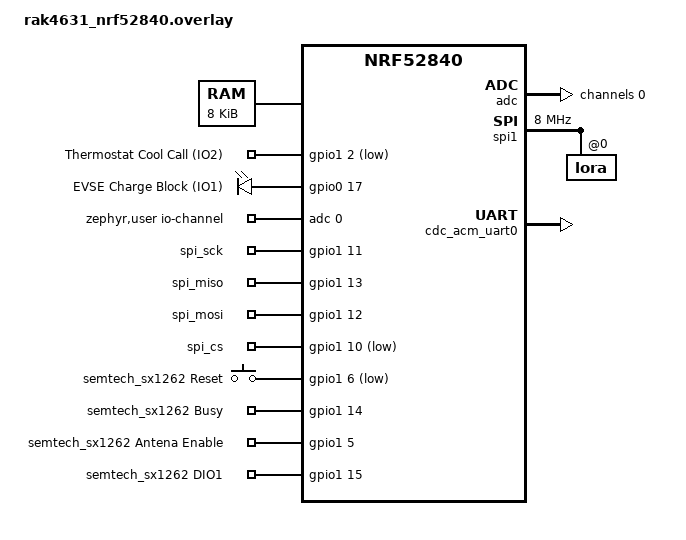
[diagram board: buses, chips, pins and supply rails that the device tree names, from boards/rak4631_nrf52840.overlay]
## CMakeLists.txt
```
#
# Copyright (c) 2023 Nordic Semiconductor ASA
#
# SPDX-License-Identifier: LicenseRef-Nordic-5-Clause
#

cmake_minimum_required(VERSION 3.20.0)

find_package(Zephyr REQUIRED HINTS $ENV{ZEPHYR_BASE})
project(evse_platform)

# Platform sources — Zephyr + Sidewalk + drivers + platform API
# Excludes the app_evse/ directory (built separately as standalone app)
target_sources(app PRIVATE
    src/main.c
    src/app.c
    src/sidewalk_dispatch.c
    src/platform_shell.c
    src/sidewalk.c
    src/sidewalk_events.c
    src/tx_state.c
    src/app_leds.c
    src/platform_api_impl.c
    src/ota_flash.c
    src/ota_update.c
    src/ota_signing.c
    src/mfg_health.c
)

zephyr_include_directories(
    include
)

# Place .platform_api section at fixed address 0x7FF00
zephyr_linker_sources(SECTIONS platform_api.ld)

# Read build versions from VERSION files
file(READ "${CMAKE_CURRENT_SOURCE_DIR}/BUILD_VERSION" APP_BUILD_VER)
string(STRIP "${APP_BUILD_VER}" APP_BUILD_VER)
file(READ "${CMAKE_CURRENT_SOURCE_DIR}/PLATFORM_BUILD_VERSION" PLATFORM_BUILD_VER)
string(STRIP "${PLATFORM_BUILD_VER}" PLATFORM_BUILD_VER)
zephyr_compile_definitions(
    APP_BUILD_VERSION=${APP_BUILD_VER}
    PLATFORM_BUILD_VERSION=${PLATFORM_BUILD_VER}
)
```

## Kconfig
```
#
# Copyright (c) 2023 Nordic Semiconductor ASA
#
# SPDX-License-Identifier: LicenseRef-Nordic-5-Clause
#
rsource "../../../sidewalk/samples/sid_end_device/Kconfig.defconfig"

config SIDEWALK_SPI_BUS
    default y
    imply SPI
    imply PM
    imply PM_DEVICE

config SID_END_DEVICE_TX_THREAD_STACK_SIZE
    int "TX thread stack size"
    default 4096

config SID_END_DEVICE_RX_THREAD_STACK_SIZE
    int "RX thread stack size"
    default 4096

config SID_END_DEVICE_NOTIFY_DATA_PERIOD_MS
    int "Notify period of sensor monitoring demo app"
    default 60000

config SID_END_DEVICE_TX_THREAD_PRIORITY
    int "TX thread priority"
    default 13

config SID_END_DEVICE_RX_THREAD_PRIORITY
    int "RX thread priority"
    default 14

config SID_END_DEVICE_TX_THREAD_QUEUE_SIZE
    int "TX thread queue size"
    default 10

config SID_END_DEVICE_RX_THREAD_QUEUE_SIZE
    int "RX thread queue size"
    default 4

source "Kconfig.zephyr"
```

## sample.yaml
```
sample:
  description: RAK4631 EVSE Monitor with J1772, Current Clamp, and Thermostat inputs
  name: EVSE Monitoring app
tests:
  sample.sidewalk.demo.ble:
    build_only: true
    platform_allow: nrf52840dk_nrf52840
    integration_platforms:
      - nrf52840dk_nrf52840
    tags: Sidewalk BLE
  sample.sidewalk.demo.fsk:
    build_only: true
    platform_allow: nrf52840dk_nrf52840
    extra_args: OVERLAY_CONFIG=fsk.conf
    integration_platforms:
      - nrf52840dk_nrf52840
    tags: Sidewalk FSK
  sample.sidewalk.demo.lora:
    build_only: true
    platform_allow: nrf52840dk_nrf52840
    extra_args: OVERLAY_CONFIG=lora.conf
    integration_platforms:
      - nrf52840dk_nrf52840
    tags: Sidewalk LoRa
```

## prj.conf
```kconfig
#
# Copyright (c) 2023 Nordic Semiconductor ASA
#
# SPDX-License-Identifier: LicenseRef-Nordic-5-Clause
#

CONFIG_STATIC_INIT_GNU=y

# Config Peripherals
CONFIG_GPIO=y
CONFIG_PWM=y
CONFIG_FLASH=y
CONFIG_SPI=y
CONFIG_NRFX_SPI1=y
CONFIG_NRFX_SPI2=y
CONFIG_FLASH_PAGE_LAYOUT=y
CONFIG_NVS=y
CONFIG_NVS_LOG_LEVEL_DBG=n
CONFIG_MPU_ALLOW_FLASH_WRITE=y

# ADC for EVSE sensors
CONFIG_ADC=y
CONFIG_ADC_NRFX_SAADC=y

# Sidewalk
CONFIG_SIDEWALK=y
CONFIG_SMF=y
CONFIG_SIDEWALK_DFU=n
# PSA key storage — re-enabled after re-provisioning MFG keys.
# Private keys live in PSA (encrypted with HUK), not in plaintext flash.
# If HUK is lost (chip erase), re-flash mfg.hex then app to re-import keys.
CONFIG_SIDEWALK_CRYPTO_PSA_KEY_STORAGE=y
CONFIG_SIDEWALK_THREAD_PRIORITY=10
CONFIG_SIDEWALK_NRFX_SPI1=y

# Logging
CONFIG_LOG=y
CONFIG_LOG_DEFAULT_LEVEL=3
CONFIG_LOG_MODE_IMMEDIATE=y
CONFIG_SIDEWALK_LOG_LEVEL_INF=y
# Crypto logging: set to DBG for handshake debugging, INF for normal use
CONFIG_SIDEWALK_CRYPTO_LOG_LEVEL_INF=y

# Buttons and LEDs
CONFIG_DK_LIBRARY=y

# Bluetooth
CONFIG_BT_DEVICE_NAME="EVSE Monitor"

# Debug
CONFIG_RESET_ON_FATAL_ERROR=n

# Shell and USB CDC console
CONFIG_USB_DEVICE_STACK=y
CONFIG_USB_DEVICE_VID=0x2FE9
CONFIG_USB_DEVICE_PRODUCT="RAK_EVSE"
CONFIG_USB_CDC_ACM_LOG_LEVEL_OFF=y
CONFIG_UART_LINE_CTRL=y
CONFIG_USB_CDC_ACM_RINGBUF_SIZE=512
CONFIG_SHELL=y
CONFIG_SHELL_LOG_BACKEND=y
CONFIG_SHELL_BACKEND_SERIAL_CHECK_DTR=y
CONFIG_REBOOT=y

# Power Management
CONFIG_PM_DEVICE=y

# CRC library (for OTA update CRC32/CRC16 validation)
CONFIG_CRC=y

# Heartbeat period — 60s periodic uplink even when no sensor changes
CONFIG_SID_END_DEVICE_NOTIFY_DATA_PERIOD_MS=60000

# ED25519 signature verification for OTA signing (PSA Crypto / Oberon backend)
# CC310 does not support Ed25519; Oberon provides the software implementation.
CONFIG_PSA_WANT_ALG_PURE_EDDSA=y
CONFIG_PSA_WANT_ECC_TWISTED_EDWARDS_255=y
CONFIG_PSA_WANT_KEY_TYPE_ECC_PUBLIC_KEY=y

# Reserve last 8KB of SRAM for app image
CONFIG_SRAM_SIZE=248
```

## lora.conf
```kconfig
#
# Copyright (c) 2023 Nordic Semiconductor ASA
#
# SPDX-License-Identifier: LicenseRef-Nordic-5-Clause
#

CONFIG_SIDEWALK_LINK_MASK_LORA=y
# CONFIG_SIDEWALK_LINK_MASK_BLE=y
```

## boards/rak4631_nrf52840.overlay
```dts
/*
 * SPDX-License-Identifier: Apache-2.0
 */

/ {
	chosen {
		zephyr,console = &cdc_acm_uart0;
		zephyr,shell-uart = &cdc_acm_uart0;
	};

	/* Reserve last 8KB of SRAM for app image (0x2003E000-0x20040000) */
	app_ram: memory@2003E000 {
		compatible = "zephyr,memory-region";
		reg = <0x2003E000 0x2000>;
		zephyr,memory-region = "APP_RAM";
	};

	thermostat_inputs {
		compatible = "gpio-keys";
		cool_call: cool_call {
			gpios = <&gpio1 2 (GPIO_PULL_UP | GPIO_ACTIVE_LOW)>;
			label = "Thermostat Cool Call (IO2)";
		};
	};

	evse_outputs {
		compatible = "gpio-leds";
		charge_block: charge_block {
			gpios = <&gpio0 17 GPIO_ACTIVE_HIGH>;
			label = "EVSE Charge Block (IO1)";
		};
	};

	zephyr,user {
		io-channels = <&adc 0>;
	};
};

&adc {
	#address-cells = <1>;
	#size-cells = <0>;
	status = "okay";

	channel@0 {
		reg = <0>;
		zephyr,gain = "ADC_GAIN_1_6";
		zephyr,reference = "ADC_REF_INTERNAL";
		zephyr,acquisition-time = <ADC_ACQ_TIME_DEFAULT>;
		zephyr,input-positive = <NRF_SAADC_AIN7>;
		zephyr,resolution = <12>;
	};
};

&spi1 {
    compatible = "nordic,nrf-spi";
    status = "okay";
};
&spi2 {
	compatible = "nordic,nrf-spi";
	status = "disabled";
};

&spi3 {
	status = "disabled";
};

&zephyr_udc0 {
	cdc_acm_uart0: cdc_acm_uart0 {
		compatible = "zephyr,cdc-acm-uart";
	};
};

sid_semtech: &spi1 {
	compatible = "nordic,nrf-spi";
	clock-frequency = <DT_FREQ_M(8)>;
	/delete-property/ cs-gpios;

	lora: lora@0 {
	    status = "okay";
	};
};

/{
	nrfx_spi_gpios{
		compatible = "gpio-keys";
		nrfx_spi_sck: sck {
			gpios = <&gpio1 11 GPIO_ACTIVE_HIGH>;
			label = "spi_sck";
		};
		nrfx_spi_miso: miso {
			gpios = <&gpio1 13 GPIO_ACTIVE_HIGH>;
			label = "spi_miso";
		};
		nrfx_spi_mosi: mosi {
			gpios = <&gpio1 12 GPIO_ACTIVE_HIGH>;
			label = "spi_mosi";
		};
		nrfx_spi_cs: cs {
			gpios = <&gpio1 10 GPIO_ACTIVE_LOW>;
			label = "spi_cs";
		};
	};

	semtech_sx1262_gpios{
		compatible = "gpio-keys";
		semtech_sx1262_reset_gpios: reset {
			gpios = <&gpio1 6 (GPIO_ACTIVE_LOW|GPIO_PULL_UP)>;
			label = "semtech_sx1262 Reset";
		};
		semtech_sx1262_busy_gpios: busy {
			gpios = <&gpio1 14 GPIO_ACTIVE_HIGH>;
			label = "semtech_sx1262 Busy";
		};
		semtech_sx1262_antenna_enable_gpios: antena_enable {
			gpios = <&gpio1 5 GPIO_ACTIVE_HIGH>;
			label = "semtech_sx1262 Antena Enable";
		};
		semtech_sx1262_dio1_gpios: dio1 {
			gpios = <&gpio1 15 (GPIO_ACTIVE_HIGH|GPIO_PULL_DOWN)>;
			label = "semtech_sx1262 DIO1";
		};
	};
};
```

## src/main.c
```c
/*
 * Copyright (c) 2023 Nordic Semiconductor ASA
 *
 * SPDX-License-Identifier: LicenseRef-Nordic-5-Clause
 */
#include <app.h>
#include <sidewalk.h>
#include <zephyr/usb/usb_device.h>
#include <zephyr/drivers/uart.h>
#include <zephyr/drivers/gpio.h>
#include <sidewalk_version.h>

#include <zephyr/logging/log.h>
LOG_MODULE_REGISTER(main,  CONFIG_SIDEWALK_LOG_LEVEL);

static void configure_uicr(void)
{
    if ((NRF_UICR->REGOUT0 & UICR_REGOUT0_VOUT_Msk) !=
        (UICR_REGOUT0_VOUT_3V3 << UICR_REGOUT0_VOUT_Pos))
    {
        NRF_NVMC->CONFIG = NVMC_CONFIG_WEN_Wen;
        while (NRF_NVMC->READY == NVMC_READY_READY_Busy){}

        NRF_UICR->REGOUT0 = (NRF_UICR->REGOUT0 & ~((uint32_t)UICR_REGOUT0_VOUT_Msk)) |
                            (UICR_REGOUT0_VOUT_3V3 << UICR_REGOUT0_VOUT_Pos);

        NRF_NVMC->CONFIG = NVMC_CONFIG_WEN_Ren;
        while (NRF_NVMC->READY == NVMC_READY_READY_Busy){}

        LOG_INF("REGOUT0 is updated!");
        NVIC_SystemReset();
    }
}

int main(void)
{
    configure_uicr();
	int rc;
	if (IS_ENABLED(CONFIG_USB_DEVICE_STACK)) {
		rc = usb_enable(NULL);
		if (rc) {
			LOG_ERR("Failed to enable USB");
		}
	}

	PRINT_SIDEWALK_VERSION();

    app_start();

	return 0;
}
```

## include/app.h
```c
/*
 * Copyright (c) 2023 Nordic Semiconductor ASA
 *
 * SPDX-License-Identifier: LicenseRef-Nordic-5-Clause
 */

#ifndef APP_H
#define APP_H

#include <stdbool.h>
#include <stdint.h>
#include <stddef.h>

struct app_callbacks;  /* forward declaration */

/**
 * @brief Start Sidewalk end device application.
 *
 * @note This function should never return.
 */
void app_start(void);

/**
 * @brief Check if a valid app image is loaded.
 */
bool app_image_valid(void);

/**
 * @brief Get the app callback table (NULL if no valid image).
 */
const struct app_callbacks *app_get_callbacks(void);

/**
 * @brief Get the reason the app image was rejected (NULL if loaded OK).
 */
const char *app_get_reject_reason(void);

/**
 * @brief Set the periodic timer interval.
 * @param interval_ms  Timer period in milliseconds (100-300000).
 * @return 0 on success, -1 if out of range.
 */
int app_set_timer_interval(uint32_t interval_ms);

/**
 * @brief Route an incoming message to OTA engine or app callback.
 *
 * Messages with first byte == OTA_CMD_TYPE (0x20) go to the OTA engine.
 * Other messages are forwarded to the app's on_msg_received callback
 * if a valid app image is loaded.
 *
 * @param data  Message payload
 * @param len   Length of payload
 */
void app_route_message(const uint8_t *data, size_t len);

#endif /* APP_H */
```

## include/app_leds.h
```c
/*
 * Copyright (c) 2023 Nordic Semiconductor ASA
 *
 * SPDX-License-Identifier: LicenseRef-Nordic-5-Clause
 */

#ifndef APP_LEDS_H
#define APP_LEDS_H

#include <stdint.h>
#include <stddef.h>
#include <stdbool.h>

#if defined(CONFIG_BOARD_THINGY53_NRF5340_CPUAPP)
#define APP_LEDS_MAX 3
#else
#define APP_LEDS_MAX 4
#endif
#define LED_ACTION_RESPONSE_PAYLOAD_SIZE_MAX 32

typedef enum {
	LED_ID_0 = 0,
	LED_ID_1 = 1,
	LED_ID_2 = 2,
	LED_ID_3 = 3,
	LED_ID_LAST,
} leds_id_t;

/**
 * @brief Turns on all LEDs.
 */
void app_led_turn_on_all(void);

/**
 * @brief Turns of all LEDs.
 */
void app_led_turn_off_all(void);

/**
 * @brief Turns on LED.
 *
 * @param id - number of LED id to turn on.
 */
void app_led_turn_on(leds_id_t id);

/**
 * @brief Turns off LED.
 *
 * @param id - number of LED id to turn off.
 */
void app_led_turn_off(leds_id_t id);

/**
 * @brief Get LED state.
 *
 * @param id - number of LED id to get state.
 * @return LED state. true means on, false means off.
 */
bool app_led_is_on(leds_id_t id);

/**
 * @brief Get LED id array's address.
 *
 * @return pointer to LEDs id array.
 */
uint8_t *app_led_id_array_get();

/**
 * @brief Initialize LED's
 *
 * @return 0 if success, otherwise negative error code.
 */
int app_led_init();

#endif /* APP_LEDS_H */
```

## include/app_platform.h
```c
/*
 * Shared platform API pointer — set once by app_init(), used by all app modules.
 */

#ifndef APP_PLATFORM_H
#define APP_PLATFORM_H

#include <platform_api.h>

extern const struct platform_api *platform;

/* Convenience logging macros — NULL-safe, match Zephyr LOG_* naming */
#define LOG_INF(...) do { if (platform) platform->log_inf(__VA_ARGS__); } while (0)
#define LOG_WRN(...) do { if (platform) platform->log_wrn(__VA_ARGS__); } while (0)
#define LOG_ERR(...) do { if (platform) platform->log_err(__VA_ARGS__); } while (0)

#endif /* APP_PLATFORM_H */
```

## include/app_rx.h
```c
/*
 * App RX Interface
 */

#ifndef APP_RX_H
#define APP_RX_H

#include <stdint.h>
#include <stddef.h>

#ifdef __cplusplus
extern "C" {
#endif

#define APP_RX_PAYLOAD_MAX_SIZE 255

/* Used by platform to queue messages (platform-side only) */
struct app_rx_msg {
	uint8_t pld_size;
	uint8_t rx_payload[APP_RX_PAYLOAD_MAX_SIZE];
};

/* Called by app entry when platform delivers a message */
void app_rx_process_msg(const uint8_t *data, size_t len);


#ifdef __cplusplus
}
#endif

#endif /* APP_RX_H */
```

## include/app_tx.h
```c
/*
 * App TX Interface
 */

#ifndef APP_TX_H
#define APP_TX_H

#include <stdbool.h>
#include <stdint.h>

#ifdef __cplusplus
extern "C" {
#endif

struct event_snapshot;   /* forward declaration */

void app_tx_init(void);
void app_tx_set_ready(bool ready);
int app_tx_send_evse_data(void);
int app_tx_send_snapshot(const struct event_snapshot *snap);
void app_tx_set_link_mask(uint32_t link_mask);
bool app_tx_is_ready(void);
uint32_t app_tx_get_link_mask(void);

#ifdef __cplusplus
}
#endif

#endif /* APP_TX_H */
```

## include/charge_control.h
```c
/*
 * Charge Control Interface
 */

#ifndef CHARGE_CONTROL_H
#define CHARGE_CONTROL_H

#include <stdint.h>
#include <stdbool.h>
#include <stddef.h>

#ifdef __cplusplus
extern "C" {
#endif

#define CHARGE_CONTROL_CMD_TYPE 0x10

typedef struct __attribute__((packed)) {
	uint8_t cmd_type;
	uint8_t charge_allowed;
	uint16_t duration_min;
} charge_control_cmd_t;

typedef struct {
	bool charging_allowed;
	uint16_t auto_resume_min;
	int64_t pause_timestamp_ms;
} charge_control_state_t;

int charge_control_init(void);
int charge_control_process_cmd(const uint8_t *data, size_t len);
/* Transition reason codes — why did charge_allowed change? */
#define TRANSITION_REASON_NONE         0x00  /* No transition (default) */
#define TRANSITION_REASON_CLOUD_CMD    0x01  /* Cloud charge control command (0x10) */
#define TRANSITION_REASON_DELAY_WINDOW 0x02  /* TOU delay window start/expire */
#define TRANSITION_REASON_CHARGE_NOW   0x03  /* Charge Now button override */
#define TRANSITION_REASON_AUTO_RESUME  0x04  /* Auto-resume timer expired */
#define TRANSITION_REASON_MANUAL       0x05  /* Shell command (app evse allow/pause) */

void charge_control_set(bool allowed, uint16_t auto_resume_min);
void charge_control_set_with_reason(bool allowed, uint16_t auto_resume_min,
				    uint8_t reason);
void charge_control_get_state(charge_control_state_t *state);
bool charge_control_is_allowed(void);
void charge_control_tick(void);

/**
 * Get the reason for the most recent charge_allowed transition.
 * Returns TRANSITION_REASON_NONE if no transition has occurred since last read.
 */
uint8_t charge_control_get_last_reason(void);

/**
 * Clear the last transition reason (after reading it into a snapshot/uplink).
 */
void charge_control_clear_last_reason(void);

#ifdef __cplusplus
}
#endif

#endif /* CHARGE_CONTROL_H */
```

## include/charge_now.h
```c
/*
 * Charge Now 30-Minute Latch
 *
 * Single button press activates a 30-minute override:
 *   - Charging forced on (relay held closed)
 *   - Cloud pause commands ignored
 *   - FLAG_CHARGE_NOW set in uplinks for the full duration
 *   - Delay window cleared
 *
 * Cancelled early by: unplug (J1772 state A), long-press (3s),
 * or 30-minute expiry.  Power loss = latch lost (RAM-only).
 */

#ifndef CHARGE_NOW_H
#define CHARGE_NOW_H

#include <stdint.h>
#include <stdbool.h>

#ifdef __cplusplus
extern "C" {
#endif

#define CHARGE_NOW_DURATION_MS  (30UL * 60 * 1000)  /* 30 minutes */

void charge_now_init(void);
void charge_now_activate(void);
void charge_now_cancel(void);
void charge_now_tick(uint8_t j1772_state);  /* check expiry and unplug */
bool charge_now_is_active(void);

#ifdef __cplusplus
}
#endif

#endif /* CHARGE_NOW_H */
```

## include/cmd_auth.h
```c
/*
 * Command Authentication — HMAC-SHA256 verification for charge control downlinks
 *
 * Cloud signs each charge control payload with a truncated HMAC-SHA256 tag
 * (8 bytes). The device verifies the tag before executing any command.
 * This prevents a compromised cloud layer from sending arbitrary commands.
 *
 * Wire format: [payload bytes] [8-byte HMAC tag]
 *   Legacy charge control: 4 + 8 = 12 bytes (fits 19-byte LoRa MTU)
 *   Delay window:         10 + 8 = 18 bytes (fits 19-byte LoRa MTU)
 */

#ifndef CMD_AUTH_H
#define CMD_AUTH_H

#include <stdint.h>
#include <stdbool.h>
#include <stddef.h>

#ifdef __cplusplus
extern "C" {
#endif

#define CMD_AUTH_TAG_SIZE    8   /* truncated HMAC-SHA256 output */
#define CMD_AUTH_KEY_SIZE    32  /* HMAC key length (SHA-256 block-aligned) */

/**
 * Set the HMAC key used for command authentication.
 * Must be called before cmd_auth_verify(). Key is copied internally.
 *
 * @param key     Pointer to key bytes
 * @param key_len Key length in bytes (must be CMD_AUTH_KEY_SIZE)
 * @return 0 on success, -1 if key_len != CMD_AUTH_KEY_SIZE
 */
int cmd_auth_set_key(const uint8_t *key, size_t key_len);

/**
 * Verify the HMAC-SHA256 authentication tag on a command payload.
 *
 * @param payload     Command payload bytes (before the tag)
 * @param payload_len Length of payload
 * @param tag         Pointer to CMD_AUTH_TAG_SIZE bytes of HMAC tag
 * @return true if tag is valid, false otherwise
 */
bool cmd_auth_verify(const uint8_t *payload, size_t payload_len,
		     const uint8_t *tag);

/**
 * Check if a key has been set.
 */
bool cmd_auth_is_configured(void);

#ifdef __cplusplus
}
#endif

#endif /* CMD_AUTH_H */
```

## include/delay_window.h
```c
/*
 * Delay Window Interface — time-based charge pause/resume
 *
 * Stores one active delay window [start_epoch, end_epoch] in RAM.
 * The cloud sends delay windows via 0x10 downlink with subtype 0x02.
 * When now is within the window, charging is paused. When the window
 * expires, charging resumes automatically — no cloud message needed.
 *
 * Requires TIME_SYNC to be operational (time_sync_get_epoch() != 0).
 * If time is not synced, delay windows are ignored (safe default).
 */

#ifndef DELAY_WINDOW_H
#define DELAY_WINDOW_H

#include <stdint.h>
#include <stdbool.h>
#include <stddef.h>

#ifdef __cplusplus
extern "C" {
#endif

/* Subtype byte in charge control downlink (0x10) */
#define DELAY_WINDOW_SUBTYPE        0x02

/* Delay window payload: cmd(1) + subtype(1) + start(4) + end(4) = 10 bytes */
#define DELAY_WINDOW_PAYLOAD_SIZE   10

void delay_window_init(void);

/**
 * Process a delay window downlink (cmd 0x10, subtype 0x02).
 *
 * @param data  Raw payload starting with 0x10
 * @param len   Payload length (must be >= DELAY_WINDOW_PAYLOAD_SIZE)
 * @return 0 on success, <0 on error
 */
int delay_window_process_cmd(const uint8_t *data, size_t len);

/**
 * Check if a delay window is currently pausing charging.
 * Returns true only if: window is set, time is synced, and start <= now <= end.
 */
bool delay_window_is_paused(void);

/**
 * Check if any delay window is stored (regardless of active/expired state).
 */
bool delay_window_has_window(void);

/**
 * Clear the stored delay window. Called by Charge Now or legacy commands.
 */
void delay_window_clear(void);

/**
 * Get the stored window boundaries.
 */
void delay_window_get(uint32_t *start, uint32_t *end);

#ifdef __cplusplus
}
#endif

#endif /* DELAY_WINDOW_H */
```

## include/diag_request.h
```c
/*
 * Diagnostics Request Interface — remote status query via 0x40 downlink
 *
 * When the cloud sends a 0x40 command, the device responds immediately
 * with an extended diagnostics uplink (magic 0xE6) containing firmware
 * version, uptime, fault state, and operational flags.
 *
 * See TDD §3.5 and §4.4.
 */

#ifndef DIAG_REQUEST_H
#define DIAG_REQUEST_H

#include <stdint.h>
#include <stddef.h>

#ifdef __cplusplus
extern "C" {
#endif

/* Command type for diagnostics request downlink */
#define DIAG_REQUEST_CMD_TYPE  0x40

/* Diagnostics response payload constants */
#define DIAG_MAGIC    0xE6
#define DIAG_VERSION  0x01
#define DIAG_PAYLOAD_SIZE  15

/* State flags byte (byte 11) bit definitions */
#define DIAG_FLAG_SIDEWALK_READY  0x01
#define DIAG_FLAG_CHARGE_ALLOWED  0x02
#define DIAG_FLAG_CHARGE_NOW      0x04
#define DIAG_FLAG_INTERLOCK       0x08
#define DIAG_FLAG_SELFTEST_PASS   0x10
#define DIAG_FLAG_OTA_IN_PROGRESS 0x20
#define DIAG_FLAG_TIME_SYNCED     0x40

/* Error codes for last_error_code byte */
#define DIAG_ERR_NONE       0
#define DIAG_ERR_SENSOR     1
#define DIAG_ERR_CLAMP      2
#define DIAG_ERR_INTERLOCK  3
#define DIAG_ERR_SELFTEST   4

/**
 * Process a diagnostics request downlink (cmd type 0x40).
 * Sends a 0xE6 diagnostics response immediately.
 *
 * @param data  Raw payload starting with 0x40 command byte
 * @param len   Payload length (must be >= 1)
 * @return 0 on success, <0 on error
 */
int diag_request_process_cmd(const uint8_t *data, size_t len);

/**
 * Build a diagnostics response payload into the provided buffer.
 * Buffer must be at least DIAG_PAYLOAD_SIZE bytes.
 *
 * @param buf   Output buffer (>= DIAG_PAYLOAD_SIZE bytes)
 * @return Number of bytes written (DIAG_PAYLOAD_SIZE), or <0 on error
 */
int diag_request_build_response(uint8_t *buf);

/**
 * Get the highest-priority active fault as an error code.
 * Uses selftest_get_fault_flags() internally.
 *
 * @return DIAG_ERR_* code (0 = no fault)
 */
uint8_t diag_request_get_error_code(void);

/**
 * Build the state flags byte from current device state.
 *
 * @return State flags byte (see DIAG_FLAG_* defines)
 */
uint8_t diag_request_get_state_flags(void);

#ifdef __cplusplus
}
#endif

#endif /* DIAG_REQUEST_H */
```

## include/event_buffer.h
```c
/*
 * Event Buffer — ring buffer of timestamped EVSE state snapshots
 *
 * Captures sensor state on every poll cycle (500ms). The cloud ACKs
 * received data via the ACK watermark in TIME_SYNC (0x30). The device
 * trims all entries at or before the watermark. If no ACK arrives,
 * the buffer wraps and overwrites the oldest entries.
 *
 * 50 entries × 12 bytes = 600 bytes from the app's 8KB RAM budget.
 */

#ifndef EVENT_BUFFER_H
#define EVENT_BUFFER_H

#include <stdint.h>
#include <stdbool.h>

#ifdef __cplusplus
extern "C" {
#endif

#define EVENT_BUFFER_CAPACITY  50

/* 12-byte snapshot — naturally aligned, no packing needed */
struct event_snapshot {
	uint32_t timestamp;         /* device epoch (seconds since 2026-01-01) */
	uint16_t pilot_voltage_mv;  /* J1772 pilot voltage */
	uint16_t current_ma;        /* Current clamp reading */
	uint8_t  j1772_state;       /* J1772 state code (0-6) */
	uint8_t  thermostat_flags;  /* Thermostat input bits */
	uint8_t  charge_flags;      /* bit 0: CHARGE_ALLOWED */
	uint8_t  transition_reason; /* TRANSITION_REASON_* (0 = no transition) */
};

/* charge_flags bit definitions */
#define EVENT_FLAG_CHARGE_ALLOWED  0x01

/**
 * Initialize the event buffer. Clears all entries.
 */
void event_buffer_init(void);

/**
 * Add a snapshot to the buffer. If full, overwrites the oldest entry.
 *
 * @param snap  Snapshot to add (copied into buffer)
 */
void event_buffer_add(const struct event_snapshot *snap);

/**
 * Get the most recent snapshot. Returns false if buffer is empty.
 */
bool event_buffer_get_latest(struct event_snapshot *out);

/**
 * Trim all entries with timestamp <= ack_watermark.
 * Called when a TIME_SYNC delivers a new ACK watermark.
 */
void event_buffer_trim(uint32_t ack_watermark);

/**
 * Current number of entries in the buffer.
 */
uint8_t event_buffer_count(void);

/**
 * Peek at a buffered entry by index (0 = oldest, count-1 = newest).
 * Returns false if index >= count or out is NULL.
 */
bool event_buffer_peek_at(uint8_t index, struct event_snapshot *out);

/**
 * Get the oldest entry's timestamp. Returns 0 if empty.
 */
uint32_t event_buffer_oldest_timestamp(void);

/**
 * Get the newest entry's timestamp. Returns 0 if empty.
 */
uint32_t event_buffer_newest_timestamp(void);

#ifdef __cplusplus
}
#endif

#endif /* EVENT_BUFFER_H */
```

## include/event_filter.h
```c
/*
 * Event Filter — write to event buffer only on meaningful state change
 *
 * Wraps event_buffer_add() with change detection. A new entry is written
 * only when:
 *   - J1772 state changes
 *   - Charge control flags change
 *   - Thermostat flags change
 *   - Pilot voltage changes by more than VOLTAGE_NOISE_MV
 *   - Heartbeat interval expires with no other writes
 *
 * This replaces the unconditional every-poll-cycle buffer write,
 * extending buffer lifetime from ~25 seconds to hours of steady state.
 */

#ifndef EVENT_FILTER_H
#define EVENT_FILTER_H

#include <event_buffer.h>
#include <stdint.h>
#include <stdbool.h>

#ifdef __cplusplus
extern "C" {
#endif

/* Voltage must change by more than this to trigger a new entry.
 * ±2V = ±2000mV — filters ADC noise without missing real transitions. */
#ifndef EVENT_FILTER_VOLTAGE_NOISE_MV
#define EVENT_FILTER_VOLTAGE_NOISE_MV  2000
#endif

/* Minimum interval between heartbeat entries (ms).
 * Matches the uplink heartbeat so the cloud sees at least one entry
 * per interval even when the charger is idle. */
#ifndef EVENT_FILTER_HEARTBEAT_MS
#define EVENT_FILTER_HEARTBEAT_MS  300000  /* 5 minutes */
#endif

/**
 * Initialize the event filter. Must be called after event_buffer_init().
 * Clears the last-buffered state so the first submit always writes.
 */
void event_filter_init(void);

/**
 * Submit a snapshot for possible buffering.
 *
 * Compares the snapshot against the last-buffered state. Writes to the
 * event buffer only if a meaningful change is detected or the heartbeat
 * interval has elapsed.
 *
 * @param snap       Snapshot to evaluate
 * @param uptime_ms  Current uptime (for heartbeat timing)
 * @return true if the snapshot was written to the buffer
 */
bool event_filter_submit(const struct event_snapshot *snap, uint32_t uptime_ms);

#ifdef __cplusplus
}
#endif

#endif /* EVENT_FILTER_H */
```
